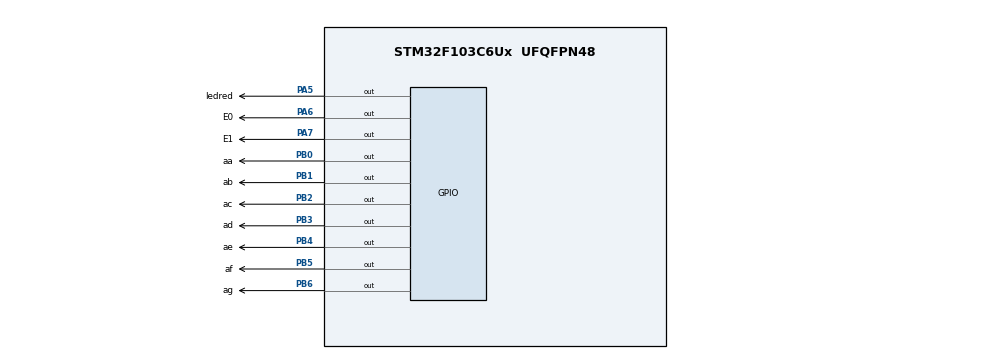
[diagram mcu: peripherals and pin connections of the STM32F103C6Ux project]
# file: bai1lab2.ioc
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Mcu.Family=STM32F1
Mcu.Name=STM32F103C6Ux
Mcu.Package=UFQFPN48
NVIC.PriorityGroup=NVIC_PRIORITYGROUP_4
NVIC.TIM2_IRQn=true\:0\:0\:false\:false\:true\:true\:true
PA5.GPIO_Label=ledred
PA5.Signal=GPIO_Output
PA6.GPIO_Label=E0
PA6.Signal=GPIO_Output
PA7.GPIO_Label=E1
PA7.Signal=GPIO_Output
PB0.GPIO_Label=aa
PB0.Signal=GPIO_Output
PB1.GPIO_Label=ab
PB1.Signal=GPIO_Output
PB2.GPIO_Label=ac
PB2.Signal=GPIO_Output
PB3.GPIO_Label=ad
PB3.Signal=GPIO_Output
PB4.GPIO_Label=ae
PB4.Signal=GPIO_Output
PB5.GPIO_Label=af
PB5.Signal=GPIO_Output
PB6.GPIO_Label=ag
PB6.Signal=GPIO_Output
ProjectManager.HeapSize=0x200
ProjectManager.StackSize=0x400
ProjectManager.TargetToolchain=STM32CubeIDE
RCC.AHBFreq_Value=8000000
RCC.APB1Freq_Value=8000000
RCC.APB1TimFreq_Value=8000000
RCC.APB2Freq_Value=8000000
RCC.APB2TimFreq_Value=8000000
RCC.HCLKFreq_Value=8000000
TIM2.Period=9 
TIM2.Prescaler=7999
VP_SYS_VS_ND.Mode=No_Debug
VP_TIM2_VS_ClockSourceINT.Mode=Internal
board=custom

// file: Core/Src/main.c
/* USER CODE BEGIN Header */
/**
  ******************************************************************************
  * @file           : main.c
  * @brief          : Main program body
  ******************************************************************************
  * @attention
  *
  * <h2><center>&copy; Copyright (c) 2022 STMicroelectronics.
  * All rights reserved.</center></h2>
  *
  * This software component is licensed by ST under BSD 3-Clause license,
  * the "License"; You may not use this file except in compliance with the
  * License. You may obtain a copy of the License at:
  *                        opensource.org/licenses/BSD-3-Clause
  *
  ******************************************************************************
  */
/* USER CODE END Header */
#include "main.h"

TIM_HandleTypeDef htim2;

void SystemClock_Config(void);
static void MX_TIM2_Init(void);
static void MX_GPIO_Init(void);

/* USER CODE BEGIN 0 */
void display7SEG(int num) {
	if (num ==0) {
		HAL_GPIO_WritePin ( aa_GPIO_Port , aa_Pin ,	  GPIO_PIN_RESET );
		HAL_GPIO_WritePin ( ab_GPIO_Port , ab_Pin ,	  GPIO_PIN_RESET );
		HAL_GPIO_WritePin ( ac_GPIO_Port , ac_Pin ,	  GPIO_PIN_RESET );
		HAL_GPIO_WritePin ( ad_GPIO_Port , ad_Pin ,	  GPIO_PIN_RESET );
		HAL_GPIO_WritePin ( ae_GPIO_Port , ae_Pin ,	  GPIO_PIN_RESET );
		HAL_GPIO_WritePin ( af_GPIO_Port , af_Pin ,	  GPIO_PIN_RESET );
		HAL_GPIO_WritePin ( ag_GPIO_Port , ag_Pin ,	  GPIO_PIN_SET );
	}
	if (num ==1) {
		HAL_GPIO_WritePin ( aa_GPIO_Port , aa_Pin ,	  GPIO_PIN_SET );
		HAL_GPIO_WritePin ( ab_GPIO_Port , ab_Pin ,	  GPIO_PIN_RESET );
		HAL_GPIO_WritePin ( ac_GPIO_Port , ac_Pin ,	  GPIO_PIN_RESET );
		HAL_GPIO_WritePin ( ad_GPIO_Port , ad_Pin ,	  GPIO_PIN_SET );
		HAL_GPIO_WritePin ( ae_GPIO_Port , ae_Pin ,	  GPIO_PIN_SET );
		HAL_GPIO_WritePin ( af_GPIO_Port , af_Pin ,	  GPIO_PIN_SET );
		HAL_GPIO_WritePin ( ag_GPIO_Port , ag_Pin ,	  GPIO_PIN_SET );
	}
	if (num ==2) {
		HAL_GPIO_WritePin ( aa_GPIO_Port , aa_Pin ,	  GPIO_PIN_RESET );
		HAL_GPIO_WritePin ( ab_GPIO_Port , ab_Pin ,	  GPIO_PIN_RESET );
		HAL_GPIO_WritePin ( ac_GPIO_Port , ac_Pin ,	  GPIO_PIN_SET );
		HAL_GPIO_WritePin ( ad_GPIO_Port , ad_Pin ,	  GPIO_PIN_RESET );
		HAL_GPIO_WritePin ( ae_GPIO_Port , ae_Pin ,	  GPIO_PIN_RESET );
		HAL_GPIO_WritePin ( af_GPIO_Port , af_Pin ,	  GPIO_PIN_SET );
		HAL_GPIO_WritePin ( ag_GPIO_Port , ag_Pin ,	  GPIO_PIN_RESET );
	}
	if (num ==3) {
		HAL_GPIO_WritePin ( aa_GPIO_Port , aa_Pin ,	  GPIO_PIN_RESET );
		HAL_GPIO_WritePin ( ab_GPIO_Port , ab_Pin ,	  GPIO_PIN_RESET );
		HAL_GPIO_WritePin ( ac_GPIO_Port , ac_Pin ,	  GPIO_PIN_RESET );
		HAL_GPIO_WritePin ( ad_GPIO_Port , ad_Pin ,	  GPIO_PIN_RESET );
		HAL_GPIO_WritePin ( ae_GPIO_Port , ae_Pin ,	  GPIO_PIN_SET );
		HAL_GPIO_WritePin ( af_GPIO_Port , af_Pin ,	  GPIO_PIN_SET );
		HAL_GPIO_WritePin ( ag_GPIO_Port , ag_Pin ,	  GPIO_PIN_RESET );
	}
	if (num ==4) {
		HAL_GPIO_WritePin ( aa_GPIO_Port , aa_Pin ,	  GPIO_PIN_SET );
		HAL_GPIO_WritePin ( ab_GPIO_Port , ab_Pin ,	  GPIO_PIN_RESET );
		HAL_GPIO_WritePin ( ac_GPIO_Port , ac_Pin ,	  GPIO_PIN_RESET );
		HAL_GPIO_WritePin ( ad_GPIO_Port , ad_Pin ,	  GPIO_PIN_SET );
		HAL_GPIO_WritePin ( ae_GPIO_Port , ae_Pin ,	  GPIO_PIN_SET );
		HAL_GPIO_WritePin ( af_GPIO_Port , af_Pin ,	  GPIO_PIN_RESET );
		HAL_GPIO_WritePin ( ag_GPIO_Port , ag_Pin ,	  GPIO_PIN_RESET );
	}
	if (num ==5) {
		HAL_GPIO_WritePin ( aa_GPIO_Port , aa_Pin ,	  GPIO_PIN_RESET );
		HAL_GPIO_WritePin ( ab_GPIO_Port , ab_Pin ,	  GPIO_PIN_SET );
		HAL_GPIO_WritePin ( ac_GPIO_Port , ac_Pin ,	  GPIO_PIN_RESET );
		HAL_GPIO_WritePin ( ad_GPIO_Port , ad_Pin ,	  GPIO_PIN_RESET );
		HAL_GPIO_WritePin ( ae_GPIO_Port , ae_Pin ,	  GPIO_PIN_SET );
		HAL_GPIO_WritePin ( af_GPIO_Port , af_Pin ,	  GPIO_PIN_RESET );
		HAL_GPIO_WritePin ( ag_GPIO_Port , ag_Pin ,	  GPIO_PIN_RESET );
	}
	if (num ==6) {
		HAL_GPIO_WritePin ( aa_GPIO_Port , aa_Pin ,	  GPIO_PIN_RESET );
		HAL_GPIO_WritePin ( ab_GPIO_Port , ab_Pin ,	  GPIO_PIN_SET );
		HAL_GPIO_WritePin ( ac_GPIO_Port , ac_Pin ,	  GPIO_PIN_RESET );
		HAL_GPIO_WritePin ( ad_GPIO_Port , ad_Pin ,	  GPIO_PIN_RESET );
		HAL_GPIO_WritePin ( ae_GPIO_Port , ae_Pin ,	  GPIO_PIN_RESET );
		HAL_GPIO_WritePin ( af_GPIO_Port , af_Pin ,	  GPIO_PIN_RESET );
		HAL_GPIO_WritePin ( ag_GPIO_Port , ag_Pin ,	  GPIO_PIN_RESET );
	}
	if (num ==7) {
		HAL_GPIO_WritePin ( aa_GPIO_Port , aa_Pin ,	  GPIO_PIN_RESET );
		HAL_GPIO_WritePin ( ab_GPIO_Port , ab_Pin ,	  GPIO_PIN_RESET );
		HAL_GPIO_WritePin ( ac_GPIO_Port , ac_Pin ,	  GPIO_PIN_RESET );
		HAL_GPIO_WritePin ( ad_GPIO_Port , ad_Pin ,	  GPIO_PIN_SET );
		HAL_GPIO_WritePin ( ae_GPIO_Port , ae_Pin ,	  GPIO_PIN_SET );
		HAL_GPIO_WritePin ( af_GPIO_Port , af_Pin ,	  GPIO_PIN_SET );
		HAL_GPIO_WritePin ( ag_GPIO_Port , ag_Pin ,	  GPIO_PIN_SET );
	}
	if (num ==8) {
		HAL_GPIO_WritePin ( aa_GPIO_Port , aa_Pin ,	  GPIO_PIN_RESET );
		HAL_GPIO_WritePin ( ab_GPIO_Port , ab_Pin ,	  GPIO_PIN_RESET );
		HAL_GPIO_WritePin ( ac_GPIO_Port , ac_Pin ,	  GPIO_PIN_RESET );
		HAL_GPIO_WritePin ( ad_GPIO_Port , ad_Pin ,	  GPIO_PIN_RESET );
		HAL_GPIO_WritePin ( ae_GPIO_Port , ae_Pin ,	  GPIO_PIN_RESET );
		HAL_GPIO_WritePin ( af_GPIO_Port , af_Pin ,	  GPIO_PIN_RESET );
		HAL_GPIO_WritePin ( ag_GPIO_Port , ag_Pin ,	  GPIO_PIN_RESET );
	}
	if (num ==9) {
		HAL_GPIO_WritePin ( aa_GPIO_Port , aa_Pin ,	  GPIO_PIN_RESET );
		HAL_GPIO_WritePin ( ab_GPIO_Port , ab_Pin ,	  GPIO_PIN_RESET );
		HAL_GPIO_WritePin ( ac_GPIO_Port , ac_Pin ,	  GPIO_PIN_RESET );
		HAL_GPIO_WritePin ( ad_GPIO_Port , ad_Pin ,	  GPIO_PIN_RESET );
		HAL_GPIO_WritePin ( ae_GPIO_Port , ae_Pin ,	  GPIO_PIN_SET );
		HAL_GPIO_WritePin ( af_GPIO_Port , af_Pin ,	  GPIO_PIN_RESET );
		HAL_GPIO_WritePin ( ag_GPIO_Port , ag_Pin ,	  GPIO_PIN_RESET );
	}
}
/* USER CODE END 0 */

int main(void)
{

  /* MCU Configuration--------------------------------------------------------*/

  /* Reset of all peripherals, Initializes the Flash interface and the Systick. */
  HAL_Init();

  /* Configure the system clock */
  SystemClock_Config();

  /* Initialize all configured peripherals */
  MX_TIM2_Init();
  MX_GPIO_Init();
  /* USER CODE BEGIN 2 */
  HAL_TIM_Base_Start_IT (& htim2 );
  /* USER CODE END 2 */

  /* Infinite loop */
  while (1)
  {

  }
}

void SystemClock_Config(void)
{
  RCC_OscInitTypeDef RCC_OscInitStruct = {0};
  RCC_ClkInitTypeDef RCC_ClkInitStruct = {0};

  /** Initializes the RCC Oscillators according to the specified parameters
  * in the RCC_OscInitTypeDef structure.
  */
  RCC_OscInitStruct.OscillatorType = RCC_OSCILLATORTYPE_HSI;
  RCC_OscInitStruct.HSIState = RCC_HSI_ON;
  RCC_OscInitStruct.HSICalibrationValue = RCC_HSICALIBRATION_DEFAULT;
  RCC_OscInitStruct.PLL.PLLState = RCC_PLL_NONE;
  if (HAL_RCC_OscConfig(&RCC_OscInitStruct) != HAL_OK)
  {
    Error_Handler();
  }
  /** Initializes the CPU, AHB and APB buses clocks
  */
  RCC_ClkInitStruct.ClockType = RCC_CLOCKTYPE_HCLK|RCC_CLOCKTYPE_SYSCLK
                              |RCC_CLOCKTYPE_PCLK1|RCC_CLOCKTYPE_PCLK2;
  RCC_ClkInitStruct.SYSCLKSource = RCC_SYSCLKSOURCE_HSI;
  RCC_ClkInitStruct.AHBCLKDivider = RCC_SYSCLK_DIV1;
  RCC_ClkInitStruct.APB1CLKDivider = RCC_HCLK_DIV1;
  RCC_ClkInitStruct.APB2CLKDivider = RCC_HCLK_DIV1;

  if (HAL_RCC_ClockConfig(&RCC_ClkInitStruct, FLASH_LATENCY_0) != HAL_OK)
  {
    Error_Handler();
  }
}

static void MX_TIM2_Init(void)
{

  TIM_ClockConfigTypeDef sClockSourceConfig = {0};
  TIM_MasterConfigTypeDef sMasterConfig = {0};

  htim2.Instance = TIM2;
  htim2.Init.Prescaler = 7999;
  htim2.Init.CounterMode = TIM_COUNTERMODE_UP;
  htim2.Init.Period = 9 ;
  htim2.Init.ClockDivision = TIM_CLOCKDIVISION_DIV1;
  htim2.Init.AutoReloadPreload = TIM_AUTORELOAD_PRELOAD_DISABLE;
  if (HAL_TIM_Base_Init(&htim2) != HAL_OK)
  {
    Error_Handler();
  }
  sClockSourceConfig.ClockSource = TIM_CLOCKSOURCE_INTERNAL;
  if (HAL_TIM_ConfigClockSource(&htim2, &sClockSourceConfig) != HAL_OK)
  {
    Error_Handler();
  }
  sMasterConfig.MasterOutputTrigger = TIM_TRGO_RESET;
  sMasterConfig.MasterSlaveMode = TIM_MASTERSLAVEMODE_DISABLE;
  if (HAL_TIMEx_MasterConfigSynchronization(&htim2, &sMasterConfig) != HAL_OK)
  {
    Error_Handler();
  }

}

static void MX_GPIO_Init(void)
{
  GPIO_InitTypeDef GPIO_InitStruct = {0};

  /* GPIO Ports Clock Enable */
  __HAL_RCC_GPIOA_CLK_ENABLE();
  __HAL_RCC_GPIOB_CLK_ENABLE();

  /*Configure GPIO pin Output Level */
  HAL_GPIO_WritePin(GPIOA, ledred_Pin|E0_Pin|E1_Pin, GPIO_PIN_RESET);

  /*Configure GPIO pin Output Level */
  HAL_GPIO_WritePin(GPIOB, aa_Pin|ab_Pin|ac_Pin|ad_Pin
                          |ae_Pin|af_Pin|ag_Pin, GPIO_PIN_RESET);

  /*Configure GPIO pins : ledred_Pin E0_Pin E1_Pin */
  GPIO_InitStruct.Pin = ledred_Pin|E0_Pin|E1_Pin;
  GPIO_InitStruct.Mode = GPIO_MODE_OUTPUT_PP;
  GPIO_InitStruct.Pull = GPIO_NOPULL;
  GPIO_InitStruct.Speed = GPIO_SPEED_FREQ_LOW;
  HAL_GPIO_Init(GPIOA, &GPIO_InitStruct);

  /*Configure GPIO pins : aa_Pin ab_Pin ac_Pin ad_Pin
                           ae_Pin af_Pin ag_Pin */
  GPIO_InitStruct.Pin = aa_Pin|ab_Pin|ac_Pin|ad_Pin
                          |ae_Pin|af_Pin|ag_Pin;
  GPIO_InitStruct.Mode = GPIO_MODE_OUTPUT_PP;
  GPIO_InitStruct.Pull = GPIO_NOPULL;
  GPIO_InitStruct.Speed = GPIO_SPEED_FREQ_LOW;
  HAL_GPIO_Init(GPIOB, &GPIO_InitStruct);

}

/* USER CODE BEGIN 4 */
int count = 100;
void HAL_TIM_PeriodElapsedCallback ( TIM_HandleTypeDef * htim )
{
count --;
if (count < 0) {
	count = 100;
	HAL_GPIO_TogglePin ( ledred_GPIO_Port , ledred_Pin );
}
else if (count < 100 && count =>50 ) {
	HAL_GPIO_WritePin(E0_GPIO_Port, E0_Pin, RESET) ;
	HAL_GPIO_WritePin(E1_GPIO_Port, E1_Pin, SET) ;
	display7SEG(1);
}
else if (count <50 && count >=0) {
	HAL_GPIO_WritePin(E0_GPIO_Port, E0_Pin, SET) ;
	HAL_GPIO_WritePin(E1_GPIO_Port, E1_Pin, RESET) ;
	display7SEG(2);
}
}
/* USER CODE END 4 */

void Error_Handler(void)
{
  __disable_irq();
  while (1)
  {
  }
}

/************************ (C) COPYRIGHT STMicroelectronics *****END OF FILE****/
